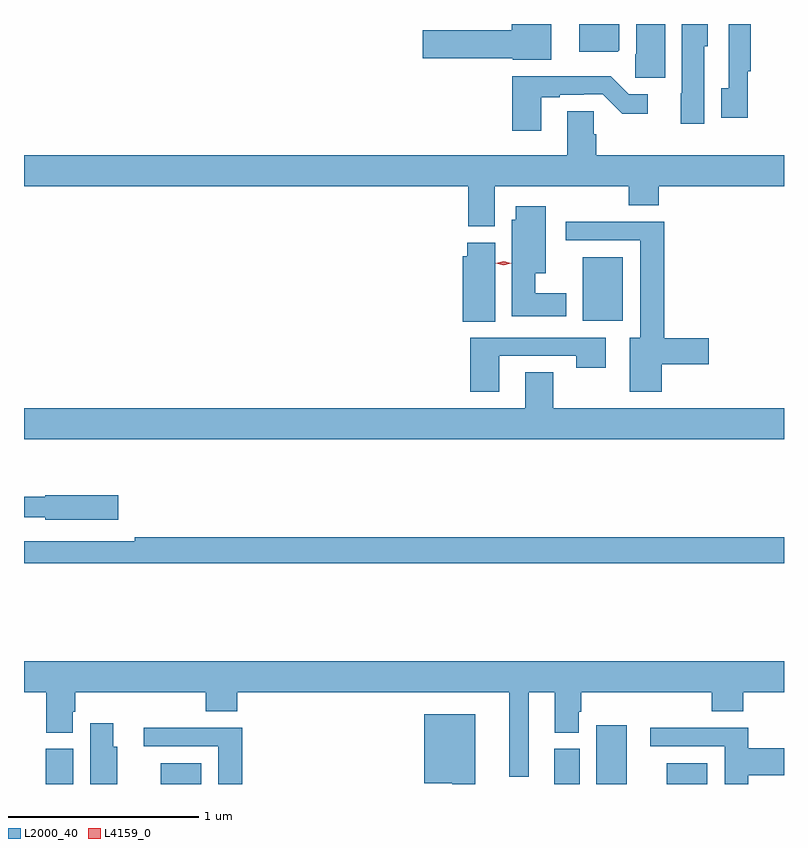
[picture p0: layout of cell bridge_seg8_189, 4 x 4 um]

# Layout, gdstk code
import gdstk
lib = gdstk.Library(unit=1e-6, precision=1e-09)
def R(c, l, rs):  # rectangles x0, y0, x1, y1
    for r in rs: c.add(gdstk.rectangle(r[:2], r[2:], *l))
def P(c, l, *ps):  # polygons
    for p in ps: c.add(gdstk.Polygon(p, *l))
L2000_40 = (2000, 40)
L4159_0 = (4159, 0)

bridge_seg8_189 = lib.new_cell('bridge_seg8_189')
R(bridge_seg8_189, L2000_40, [(267.248,1121.346,267.394,1121.532), (267.854,1121.346,268.066,1121.455), (269.924,1121.346,270.058,1121.532), (270.146,1121.346,270.307,1121.656), (270.518,1121.346,270.73,1121.455), (270.074,1123.784,270.286,1124.119)])
P(bridge_seg8_189, L2000_40, [(270.268,1125.208),(270.268,1125.346),(270.056,1125.346),(270.056,1125.2),(270.26,1125.2)],
  [(270.508,1125.346),(270.356,1125.346),(270.356,1125.186),(270.352,1125.186),(270.352,1125.063),(270.508,1125.063)],
  [(270.715,1125.228),(270.733,1125.228),(270.733,1125.346),(270.596,1125.346),(270.596,1124.982),(270.59,1124.982),(270.59,1124.82),(270.715,1124.82)],
  [(270.944,1125.097),(270.959,1125.097),(270.959,1125.346),(270.843,1125.346),(270.843,1125.009),(270.803,1125.009),(270.803,1124.853),(270.944,1124.853)],
  [(269.908,1125.346),(269.702,1125.346),(269.702,1125.314),(269.232,1125.314),(269.232,1125.167),(269.706,1125.167),(269.706,1125.158),(269.908,1125.158)],
  [(269.857,1124.961),(269.953,1124.961),(269.953,1124.973),(270.08,1124.973),(270.08,1124.976),(270.18,1124.976),(270.283,1124.874),(270.418,1124.874),(270.418,1124.976),(270.318,1124.976),(270.223,1125.071),(269.705,1125.071),(269.705,1124.784),(269.857,1124.784)],
  [(269.611,1124.492),(270.316,1124.492),(270.316,1124.393),(270.476,1124.393),(270.476,1124.492),(271.134,1124.492),(271.134,1124.656),(270.146,1124.656),(270.146,1124.766),(270.132,1124.766),(270.132,1124.888),(269.993,1124.888),(269.993,1124.656),(267.134,1124.656),(267.134,1124.492),(269.471,1124.492),(269.471,1124.281),(269.611,1124.281)],
  [(269.989,1123.93),(269.824,1123.93),(269.824,1124.033),(269.881,1124.033),(269.881,1124.386),(269.723,1124.386),(269.723,1124.316),(269.702,1124.316),(269.702,1123.808),(269.989,1123.808)],
  [(270.49,1123.556),(270.739,1123.556),(270.739,1123.691),(270.503,1123.691),(270.503,1124.306),(269.985,1124.306),(269.985,1124.208),(270.377,1124.208),(270.377,1123.696),(270.323,1123.696),(270.323,1123.41),(270.49,1123.41)],
  [(269.614,1124.196),(269.468,1124.196),(269.468,1124.124),(269.444,1124.124),(269.444,1123.78),(269.614,1123.78)],
  [(269.635,1123.599),(270.04,1123.599),(270.04,1123.536),(270.196,1123.536),(270.196,1123.695),(269.483,1123.695),(269.483,1123.41),(269.635,1123.41)],
  [(271.134,1123.324),(269.919,1123.324),(269.919,1123.514),(269.771,1123.514),(269.771,1123.324),(267.134,1123.324),(267.134,1123.16),(271.134,1123.16)],
  [(267.631,1122.867),(267.246,1122.867),(267.246,1122.859),(267.134,1122.859),(267.134,1122.75),(267.246,1122.75),(267.246,1122.737),(267.631,1122.737)],
  [(271.134,1122.644),(267.718,1122.644),(267.718,1122.624),(267.134,1122.624),(267.134,1122.508),(271.134,1122.508)],
  [(269.791,1121.828),(269.927,1121.828),(269.927,1121.617),(270.055,1121.617),(270.055,1121.727),(270.068,1121.727),(270.068,1121.828),(270.755,1121.828),(270.755,1121.729),(270.92,1121.729),(270.92,1121.828),(271.134,1121.828),(271.134,1121.992),(267.134,1121.992),(267.134,1121.828),(267.251,1121.828),(267.251,1121.617),(267.391,1121.617),(267.391,1121.727),(267.404,1121.727),(267.404,1121.828),(268.091,1121.828),(268.091,1121.729),(268.256,1121.729),(268.256,1121.828),(269.687,1121.828),(269.687,1121.384),(269.791,1121.384)],
  [(269.509,1121.713),(269.24,1121.713),(269.24,1121.351),(269.388,1121.351),(269.388,1121.346),(269.509,1121.346)],
  [(267.625,1121.541),(267.604,1121.541),(267.604,1121.665),(267.482,1121.665),(267.482,1121.346),(267.625,1121.346)],
  [(270.947,1121.393),(271.134,1121.393),(271.134,1121.535),(270.947,1121.535),(270.947,1121.642),(270.429,1121.642),(270.429,1121.544),(270.821,1121.544),(270.821,1121.346),(270.947,1121.346)],
  [(268.283,1121.642),(267.765,1121.642),(267.765,1121.544),(268.157,1121.544),(268.157,1121.346),(268.283,1121.346)])
P(bridge_seg8_189, L4159_0, [(269.658,1124.077),(269.618,1124.086),(269.618,1124.086),(269.618,1124.086),(269.658,1124.097),(269.699,1124.087),(269.699,1124.087),(269.699,1124.087)])

lib.write_gds('bridge_seg8_189.gds')
